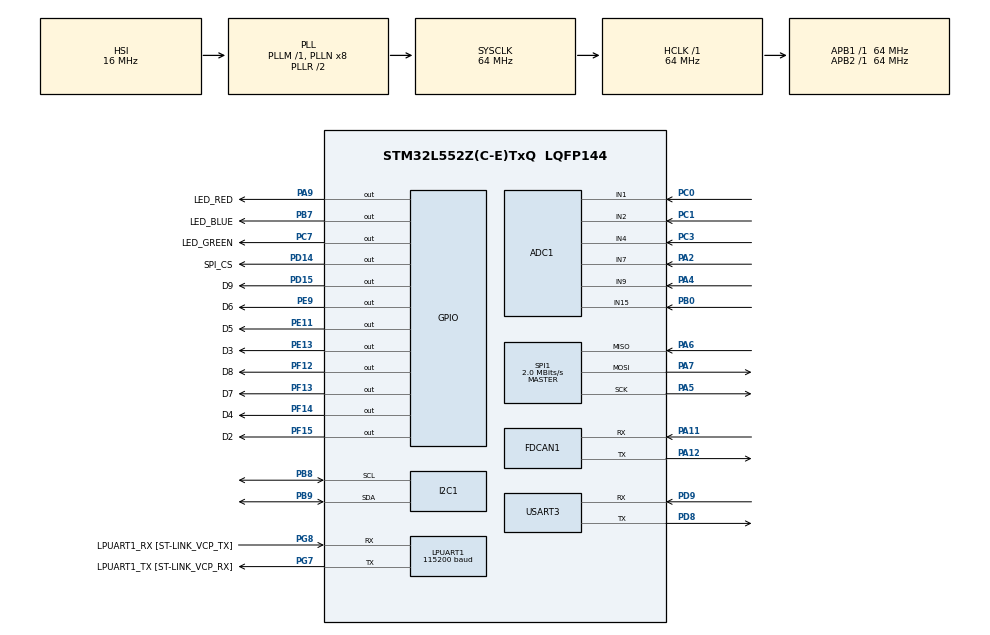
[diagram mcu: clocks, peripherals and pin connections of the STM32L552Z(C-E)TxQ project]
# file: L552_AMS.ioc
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ADC1.Channel-0\#ChannelRegularConversion=ADC_CHANNEL_1
ADC1.NbrOfConversionFlag=1
ADC1.OffsetNumber-0\#ChannelRegularConversion=ADC_OFFSET_NONE
ADC1.Rank-0\#ChannelRegularConversion=1
ADC1.SamplingTime-0\#ChannelRegularConversion=ADC_SAMPLETIME_2CYCLES_5
ADC1.master=1
FDCAN1.CalculateBaudRateNominal=640000
FDCAN1.CalculateTimeBitNominal=1562
FDCAN1.CalculateTimeQuantumNominal=15.625
FDCAN1.DataPrescaler=25
FDCAN1.DataTimeSeg1=2
FDCAN1.FrameFormat=FDCAN_FRAME_FD_NO_BRS
FDCAN1.NominalPrescaler=1
FDCAN1.NominalSyncJumpWidth=13
FDCAN1.NominalTimeSeg1=86
FDCAN1.NominalTimeSeg2=13
I2C1.Timing=0x10B17DB5
LPUART1.BaudRate=115200
Mcu.Family=STM32L5
Mcu.Name=STM32L552Z(C-E)TxQ
Mcu.Package=LQFP144
Mcu.TrustZone=disable
NVIC.PriorityGroup=NVIC_PRIORITYGROUP_3
NVIC.TIM3_IRQn=true\:0\:0\:false\:false\:true\:true\:true\:true
PA11.Mode=FDCAN_Activate
PA11.Signal=FDCAN1_RX
PA12.Mode=FDCAN_Activate
PA12.Signal=FDCAN1_TX
PA13\ (JTMS/SWDIO).Mode=Serial_Wire
PA13\ (JTMS/SWDIO).Signal=DEBUG_JTMS-SWDIO
PA14\ (JTCK/SWCLK).Mode=Serial_Wire
PA14\ (JTCK/SWCLK).Signal=DEBUG_JTCK-SWCLK
PA2.Signal=ADCx_IN7
PA4.Signal=ADCx_IN9
PA5.Mode=Full_Duplex_Master
PA5.Signal=SPI1_SCK
PA6.Mode=Full_Duplex_Master
PA6.Signal=SPI1_MISO
PA7.Mode=Full_Duplex_Master
PA7.Signal=SPI1_MOSI
PA9.GPIO_Label=LED_RED
PA9.Signal=GPIO_Output
PB0.Signal=ADCx_IN15
PB3\ (JTDO/TRACESWO).Signal=DEBUG_JTDO-SWO
PB7.GPIO_Label=LED_BLUE
PB7.Signal=GPIO_Output
PB8.Mode=I2C
PB8.Signal=I2C1_SCL
PB9.Mode=I2C
PB9.Signal=I2C1_SDA
PC0.Signal=ADCx_IN1
PC1.Signal=ADCx_IN2
PC13.GPIO_Label=USER_BUTTON
PC13.Signal=PWR_WKUP2
PC14-OSC32_IN\ (PC14).Mode=LSE-External-Oscillator
PC14-OSC32_IN\ (PC14).Signal=RCC_OSC32_IN
PC15-OSC32_OUT\ (PC15).Mode=LSE-External-Oscillator
PC15-OSC32_OUT\ (PC15).Signal=RCC_OSC32_OUT
PC3.Signal=ADCx_IN4
PC7.GPIO_Label=LED_GREEN
PC7.Signal=GPIO_Output
PD14.GPIO_Label=SPI_CS
PD14.GPIO_PuPd=GPIO_PULLUP
PD14.GPIO_Speed=GPIO_SPEED_FREQ_VERY_HIGH
PD14.Signal=GPIO_Output
PD15.GPIO_Label=D9
PD15.GPIO_PuPd=GPIO_PULLUP
PD15.GPIO_Speed=GPIO_SPEED_FREQ_VERY_HIGH
PD15.Signal=GPIO_Output
PD8.Mode=Asynchronous
PD8.Signal=USART3_TX
PD9.Mode=Asynchronous
PD9.Signal=USART3_RX
PE11.GPIO_Label=D5
PE11.Signal=GPIO_Output
PE13.GPIO_Label=D3
PE13.Signal=GPIO_Output
PE9.GPIO_Label=D6
PE9.Signal=GPIO_Output
PF12.GPIO_Label=D8
PF12.Signal=GPIO_Output
PF13.GPIO_Label=D7
PF13.Signal=GPIO_Output
PF14.GPIO_Label=D4
PF14.Signal=GPIO_Output
PF15.GPIO_Label=D2
PF15.Signal=GPIO_Output
PG7.GPIO_Label=LPUART1_TX [ST-LINK_VCP_RX]
PG7.Mode=Asynchronous
PG7.Signal=LPUART1_TX
PG8.GPIO_Label=LPUART1_RX [ST-LINK_VCP_TX]
PG8.Mode=Asynchronous
PG8.Signal=LPUART1_RX
ProjectManager.HeapSize=0x200
ProjectManager.StackSize=0x400
ProjectManager.TargetToolchain=CMake
RCC.ADCCLockSelection=RCC_ADCCLKSOURCE_SYSCLK
RCC.ADCFreq_Value=64000000
RCC.AHBFreq_Value=64000000
RCC.APB1Freq_Value=64000000
RCC.APB1TimFreq_Value=64000000
RCC.APB2Freq_Value=64000000
RCC.APB2TimFreq_Value=64000000
RCC.CK48CLockSelection=RCC_USBCLKSOURCE_HSI48
RCC.CortexFreq_Value=64000000
RCC.HCLKFreq_Value=64000000
RCC.HSE_VALUE=8000000
RCC.HSI48_VALUE=48000000
RCC.HSI_VALUE=16000000
RCC.MSI_VALUE=4000000
RCC.PLLSAI1N=24
RCC.PLLSourceVirtual=RCC_PLLSOURCE_HSI
RCC.RTCClockSelection=RCC_RTCCLKSOURCE_LSE
RCC.SYSCLKFreq_VALUE=64000000
RCC.SYSCLKSource=RCC_SYSCLKSOURCE_PLLCLK
RCC.USBFreq_Value=48000000
RCC.VCOOutputFreq_Value=128000000
SH.ADCx_IN1.0=ADC1_IN1,IN1-Single-Ended
SH.ADCx_IN15.0=ADC1_IN15,IN15-Single-Ended
SH.ADCx_IN2.0=ADC1_IN2,IN2-Single-Ended
SH.ADCx_IN4.0=ADC1_IN4,IN4-Single-Ended
SH.ADCx_IN7.0=ADC1_IN7,IN7-Single-Ended
SH.ADCx_IN9.0=ADC1_IN9,IN9-Single-Ended
SPI1.BaudRatePrescaler=SPI_BAUDRATEPRESCALER_32
SPI1.CalculateBaudRate=2.0 MBits/s
SPI1.DataSize=SPI_DATASIZE_8BIT
SPI1.Direction=SPI_DIRECTION_2LINES
SPI1.Mode=SPI_MODE_MASTER
SPI1.VirtualType=VM_MASTER
TIM2.Prescaler=0
TIM3.Period=10000
TIM3.Prescaler=6399
TIM3.TIM_MasterOutputTrigger=TIM_TRGO_UPDATE
USART3.VirtualMode-Asynchronous=VM_ASYNC
VP_ICACHE_VS_ICACHE.Mode=DirectMappedCache
VP_PWR_VS_DBSignals.Mode=DisableDeadBatterySignals
VP_PWR_VS_SECSignals.Mode=Security/Privilege
VP_TIM2_VS_ClockSourceINT.Mode=Internal
VP_TIM3_VS_ClockSourceINT.Mode=Internal
VP_TIM5_VS_ClockSourceINT.Mode=Internal
board=NUCLEO-L552ZE-Q

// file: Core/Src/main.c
/* USER CODE BEGIN Header */
/**
  ******************************************************************************
  * @file           : main.c
  * @brief          : Main program body
  ******************************************************************************
  * @attention
  *
  * Copyright (c) 2025 STMicroelectronics.
  * All rights reserved.
  *
  * This software is licensed under terms that can be found in the LICENSE file
  * in the root directory of this software component.
  * If no LICENSE file comes with this software, it is provided AS-IS.
  *
  ******************************************************************************
  */
/* USER CODE END Header */
#include "main.h"
#include "adc.h"
#include "fdcan.h"
#include "i2c.h"
#include "icache.h"
#include "usart.h"
#include "spi.h"
#include "tim.h"
#include "gpio.h"

/* USER CODE BEGIN Includes */
#include <stdio.h>

#include "adBms_Application.h"
#include "math.h"

#include "common.h"

/* USER CODE END Includes */

/* USER CODE BEGIN PD */
#ifdef __GNUC__
#define PUTCHAR_PROTOTYPE int __io_putchar(int ch)
#define GETCHAR_PROTOTYPE int __io_getchar(void)
#else
#define PUTCHAR_PROTOTYPE int fputc(int ch, FILE *f)
#define GETCHAR_PROTOTYPE int fgetc(FILE *f)
#endif
/* USER CODE END PD */

/* USER CODE BEGIN PV */

SEG_PARAMS SEG1,SEG2,SEG3,SEG4,SEG5;

SEG_BSTAT SEG1_B, SEG2_B, SEG3_B, SEG4_B, SEG5_B;

uint16_t TS_Current;
uint8_t AMS_SOC;
uint8_t AMS_SAFE;

uint16_t AMS_Charg_I;
uint16_t AMS_Charg_V;

uint8_t MCU_junction_temp;

int all;
/* USER CODE END PV */

void SystemClock_Config(void);

int main(void)
{

  /* MCU Configuration--------------------------------------------------------*/

  /* Reset of all peripherals, Initializes the Flash interface and the Systick. */
  HAL_Init();

  /* USER CODE BEGIN Init */
//#define TOTAL_IC 1
//cell_asic IC[TOTAL_IC];
  /* USER CODE END Init */

  /* Configure the system clock */
  SystemClock_Config();

  /* Initialize all configured peripherals */
  MX_GPIO_Init();
  MX_ICACHE_Init();
  MX_ADC1_Init();
  MX_I2C1_Init();
  MX_LPUART1_UART_Init();
  MX_USART3_UART_Init();
  MX_SPI1_Init();
  MX_TIM2_Init();
  MX_TIM5_Init();
  MX_FDCAN1_Init();
  MX_TIM3_Init();
  /* USER CODE BEGIN 2 */

  HAL_GPIO_WritePin(GPIOE,D5_Pin, GPIO_PIN_SET);
  HAL_GPIO_WritePin(GPIOF,D2_Pin, GPIO_PIN_SET);

  setvbuf(stdin, NULL, _IONBF, 0);

   //adbms_main();
    CAN_Data_Init();
   adbms_init_loop();
   HAL_TIM_Base_Start_IT(&htim3);
  //HAL_Delay(1000);
  //testOpenWire();
   //HAL_Delay(10000);
  //adbms_startCellConv_loop();
  //HAL_Delay(100);
  //adBmsWakeupIcTim(1,500);
//  CAN_Data_Init();

// if (HAL_TIM_Base_Start_IT(&htim3) != HAL_OK)
//  {
//     Error_Handler();
//   }

  /* USER CODE END 2 */

  /* Infinite loop */
  /* USER CODE BEGIN WHILE */
  while (1)
  {
	  //adBmsWakeupIC(1);

	  adbms_readCell_loop();
	  adbmsReinitMain();
	  adbms_readTempToggle();

	  HAL_Delay(5);

//	  HAL_TIM_PeriodElapsedCallback( TIM_HandleTypeDef htim3)
	  {

	  }
//	  printf("%fV\n",SEG1.CELL_V[0]);
//	  printf("%fC\n",SEG1.CELL_T[0]);
	  //HAL_Delay(1000);
    /* USER CODE END WHILE */

  }
}

void SystemClock_Config(void)
{
  RCC_OscInitTypeDef RCC_OscInitStruct = {0};
  RCC_ClkInitTypeDef RCC_ClkInitStruct = {0};

  /** Configure the main internal regulator output voltage
  */
  if (HAL_PWREx_ControlVoltageScaling(PWR_REGULATOR_VOLTAGE_SCALE1) != HAL_OK)
  {
    Error_Handler();
  }

  /** Initializes the RCC Oscillators according to the specified parameters
  * in the RCC_OscInitTypeDef structure.
  */
  RCC_OscInitStruct.OscillatorType = RCC_OSCILLATORTYPE_HSI;
  RCC_OscInitStruct.HSIState = RCC_HSI_ON;
  RCC_OscInitStruct.HSICalibrationValue = RCC_HSICALIBRATION_DEFAULT;
  RCC_OscInitStruct.PLL.PLLState = RCC_PLL_ON;
  RCC_OscInitStruct.PLL.PLLSource = RCC_PLLSOURCE_HSI;
  RCC_OscInitStruct.PLL.PLLM = 1;
  RCC_OscInitStruct.PLL.PLLN = 8;
  RCC_OscInitStruct.PLL.PLLP = RCC_PLLP_DIV7;
  RCC_OscInitStruct.PLL.PLLQ = RCC_PLLQ_DIV2;
  RCC_OscInitStruct.PLL.PLLR = RCC_PLLR_DIV2;
  if (HAL_RCC_OscConfig(&RCC_OscInitStruct) != HAL_OK)
  {
    Error_Handler();
  }

  /** Initializes the CPU, AHB and APB buses clocks
  */
  RCC_ClkInitStruct.ClockType = RCC_CLOCKTYPE_HCLK|RCC_CLOCKTYPE_SYSCLK
                              |RCC_CLOCKTYPE_PCLK1|RCC_CLOCKTYPE_PCLK2;
  RCC_ClkInitStruct.SYSCLKSource = RCC_SYSCLKSOURCE_PLLCLK;
  RCC_ClkInitStruct.AHBCLKDivider = RCC_SYSCLK_DIV1;
  RCC_ClkInitStruct.APB1CLKDivider = RCC_HCLK_DIV1;
  RCC_ClkInitStruct.APB2CLKDivider = RCC_HCLK_DIV1;

  if (HAL_RCC_ClockConfig(&RCC_ClkInitStruct, FLASH_LATENCY_3) != HAL_OK)
  {
    Error_Handler();
  }
}

/* USER CODE BEGIN 4 */
PUTCHAR_PROTOTYPE
{
  /* Place your implementation of fputc here */
  /* e.g. write a character to the USART1 and Loop until the end of transmission */
  HAL_UART_Transmit(&hlpuart1, (uint8_t *)&ch, 1, 0xFFFF);

  return ch;
}

GETCHAR_PROTOTYPE
{
	uint8_t ch = 0;
	__HAL_UART_CLEAR_OREFLAG(&hlpuart1);
	    // Wait for a character
	    HAL_UART_Receive(&hlpuart1, (uint8_t *)&ch, 1, HAL_MAX_DELAY);

	    // Echo back (optional)
	    HAL_UART_Transmit(&hlpuart1, (uint8_t *)&ch, 1, HAL_MAX_DELAY);

	    // Convert '\r' (Enter key) to '\n' so scanf() sees it properly
	    if (ch == '\r')
	    {
	        uint8_t nl = '\n';
	        HAL_UART_Transmit(&hlpuart1, &nl, 1, HAL_MAX_DELAY);
	        ch = '\n';
	    }

	    return ch;
}

void HAL_TIM_PeriodElapsedCallback (TIM_HandleTypeDef *htim)
{
 	if (htim == &htim3) {
 		all++;
 		canFraming();

 		CAN_DataTX_1s();
 	}

}
/* USER CODE END 4 */

void Error_Handler(void)
{
  __disable_irq();
  while (1)
  {
  }
}
